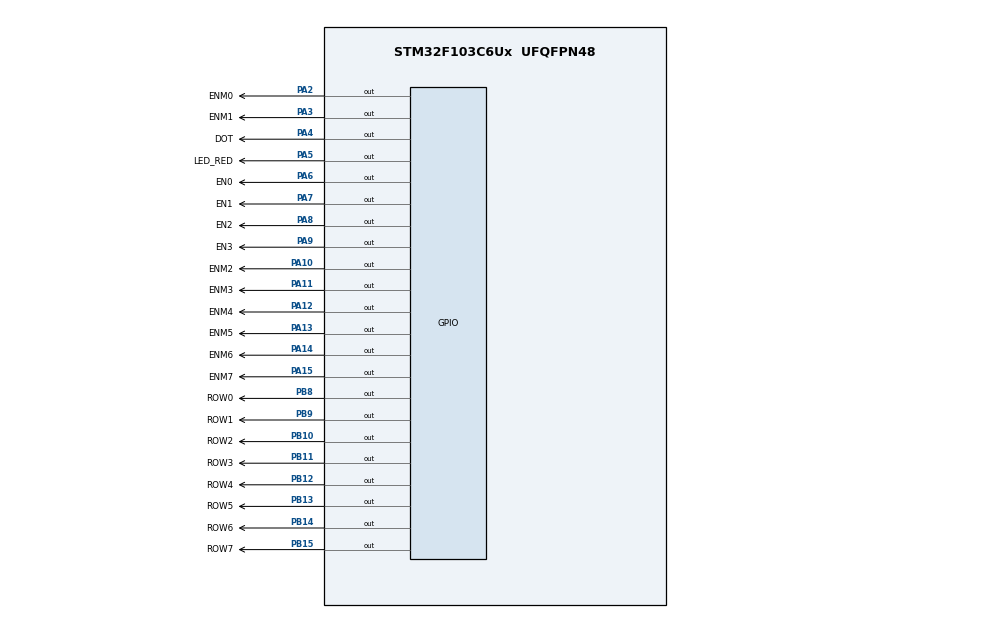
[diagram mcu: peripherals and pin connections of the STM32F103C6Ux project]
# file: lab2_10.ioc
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Mcu.Family=STM32F1
Mcu.Name=STM32F103C6Ux
Mcu.Package=UFQFPN48
NVIC.PriorityGroup=NVIC_PRIORITYGROUP_4
NVIC.TIM2_IRQn=true\:0\:0\:false\:false\:true\:true\:true
PA10.GPIO_Label=ENM2
PA10.Signal=GPIO_Output
PA11.GPIO_Label=ENM3
PA11.Signal=GPIO_Output
PA12.GPIO_Label=ENM4
PA12.Signal=GPIO_Output
PA13.GPIO_Label=ENM5
PA13.Signal=GPIO_Output
PA14.GPIO_Label=ENM6
PA14.Signal=GPIO_Output
PA15.GPIO_Label=ENM7
PA15.Signal=GPIO_Output
PA2.GPIO_Label=ENM0
PA2.Signal=GPIO_Output
PA3.GPIO_Label=ENM1
PA3.Signal=GPIO_Output
PA4.GPIO_Label=DOT
PA4.Signal=GPIO_Output
PA5.GPIO_Label=LED_RED
PA5.Signal=GPIO_Output
PA6.GPIO_Label=EN0
PA6.Signal=GPIO_Output
PA7.GPIO_Label=EN1
PA7.Signal=GPIO_Output
PA8.GPIO_Label=EN2
PA8.Signal=GPIO_Output
PA9.GPIO_Label=EN3
PA9.Signal=GPIO_Output
PB10.GPIO_Label=ROW2
PB10.Signal=GPIO_Output
PB11.GPIO_Label=ROW3
PB11.Signal=GPIO_Output
PB12.GPIO_Label=ROW4
PB12.Signal=GPIO_Output
PB13.GPIO_Label=ROW5
PB13.Signal=GPIO_Output
PB14.GPIO_Label=ROW6
PB14.Signal=GPIO_Output
PB15.GPIO_Label=ROW7
PB15.Signal=GPIO_Output
PB8.GPIO_Label=ROW0
PB8.Signal=GPIO_Output
PB9.GPIO_Label=ROW1
PB9.Signal=GPIO_Output
ProjectManager.HeapSize=0x200
ProjectManager.StackSize=0x400
ProjectManager.TargetToolchain=STM32CubeIDE
RCC.APB1Freq_Value=8000000
RCC.APB2Freq_Value=8000000
TIM2.Period=9
TIM2.Prescaler=7999
VP_SYS_VS_ND.Mode=No_Debug
VP_TIM2_VS_ClockSourceINT.Mode=Internal
board=custom

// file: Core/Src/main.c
/* USER CODE BEGIN Header */
/**
  ******************************************************************************
  * @file           : main.c
  * @brief          : Main program body
  ******************************************************************************
  * @attention
  *
  * <h2><center>&copy; Copyright (c) 2022 STMicroelectronics.
  * All rights reserved.</center></h2>
  *
  * This software component is licensed by ST under BSD 3-Clause license,
  * the "License"; You may not use this file except in compliance with the
  * License. You may obtain a copy of the License at:
  *                        opensource.org/licenses/BSD-3-Clause
  *
  ******************************************************************************
  */
/* USER CODE END Header */
#include "main.h"

/* USER CODE BEGIN Includes */
#include "ledmatrix.h"
#include "software.h"
/* USER CODE END Includes */

TIM_HandleTypeDef htim2;

void SystemClock_Config(void);
static void MX_GPIO_Init(void);
static void MX_TIM2_Init(void);

int main(void)
{

  /* MCU Configuration--------------------------------------------------------*/

  /* Reset of all peripherals, Initializes the Flash interface and the Systick. */
  HAL_Init();

  /* Configure the system clock */
  SystemClock_Config();

  /* Initialize all configured peripherals */
  MX_GPIO_Init();
  MX_TIM2_Init();
  /* USER CODE BEGIN 2 */
  HAL_TIM_Base_Start_IT (& htim2 ) ;
  /* USER CODE END 2 */

  /* Infinite loop */
  /* USER CODE BEGIN WHILE */
  int index =0;
  int n = 0;
  HAL_GPIO_WritePin(ENM0_GPIO_Port, ENM0_Pin, SET);
  HAL_GPIO_WritePin(ENM1_GPIO_Port, ENM1_Pin, SET);
  HAL_GPIO_WritePin(ENM2_GPIO_Port, ENM2_Pin, SET);
  HAL_GPIO_WritePin(ENM3_GPIO_Port, ENM3_Pin, SET);
  HAL_GPIO_WritePin(ENM4_GPIO_Port, ENM4_Pin, SET);
  HAL_GPIO_WritePin(ENM5_GPIO_Port, ENM5_Pin, SET);
  HAL_GPIO_WritePin(ENM6_GPIO_Port, ENM6_Pin, SET);
  HAL_GPIO_WritePin(ENM7_GPIO_Port, ENM7_Pin, SET);
  setTimer1(100);
  setTimer2(100);
  while (1)
  {
	  if(timer1_flag == 1){
	  		  n++;
	  	  }
	  if(timer2_flag == 1){
		  if(index > 7){
			  index = 0;
		  }
		  if(n>7){
		  		  n=0;
		  }
		  updateLEDMatrix(index++,n);
	  }
  }
    /* USER CODE END WHILE */

}

void SystemClock_Config(void)
{
  RCC_OscInitTypeDef RCC_OscInitStruct = {0};
  RCC_ClkInitTypeDef RCC_ClkInitStruct = {0};

  /** Initializes the RCC Oscillators according to the specified parameters
  * in the RCC_OscInitTypeDef structure.
  */
  RCC_OscInitStruct.OscillatorType = RCC_OSCILLATORTYPE_HSI;
  RCC_OscInitStruct.HSIState = RCC_HSI_ON;
  RCC_OscInitStruct.HSICalibrationValue = RCC_HSICALIBRATION_DEFAULT;
  RCC_OscInitStruct.PLL.PLLState = RCC_PLL_NONE;
  if (HAL_RCC_OscConfig(&RCC_OscInitStruct) != HAL_OK)
  {
    Error_Handler();
  }
  /** Initializes the CPU, AHB and APB buses clocks
  */
  RCC_ClkInitStruct.ClockType = RCC_CLOCKTYPE_HCLK|RCC_CLOCKTYPE_SYSCLK
                              |RCC_CLOCKTYPE_PCLK1|RCC_CLOCKTYPE_PCLK2;
  RCC_ClkInitStruct.SYSCLKSource = RCC_SYSCLKSOURCE_HSI;
  RCC_ClkInitStruct.AHBCLKDivider = RCC_SYSCLK_DIV1;
  RCC_ClkInitStruct.APB1CLKDivider = RCC_HCLK_DIV1;
  RCC_ClkInitStruct.APB2CLKDivider = RCC_HCLK_DIV1;

  if (HAL_RCC_ClockConfig(&RCC_ClkInitStruct, FLASH_LATENCY_0) != HAL_OK)
  {
    Error_Handler();
  }
}

static void MX_TIM2_Init(void)
{

  TIM_ClockConfigTypeDef sClockSourceConfig = {0};
  TIM_MasterConfigTypeDef sMasterConfig = {0};

  htim2.Instance = TIM2;
  htim2.Init.Prescaler = 7999;
  htim2.Init.CounterMode = TIM_COUNTERMODE_UP;
  htim2.Init.Period = 9;
  htim2.Init.ClockDivision = TIM_CLOCKDIVISION_DIV1;
  htim2.Init.AutoReloadPreload = TIM_AUTORELOAD_PRELOAD_DISABLE;
  if (HAL_TIM_Base_Init(&htim2) != HAL_OK)
  {
    Error_Handler();
  }
  sClockSourceConfig.ClockSource = TIM_CLOCKSOURCE_INTERNAL;
  if (HAL_TIM_ConfigClockSource(&htim2, &sClockSourceConfig) != HAL_OK)
  {
    Error_Handler();
  }
  sMasterConfig.MasterOutputTrigger = TIM_TRGO_RESET;
  sMasterConfig.MasterSlaveMode = TIM_MASTERSLAVEMODE_DISABLE;
  if (HAL_TIMEx_MasterConfigSynchronization(&htim2, &sMasterConfig) != HAL_OK)
  {
    Error_Handler();
  }

}

static void MX_GPIO_Init(void)
{
  GPIO_InitTypeDef GPIO_InitStruct = {0};

  /* GPIO Ports Clock Enable */
  __HAL_RCC_GPIOA_CLK_ENABLE();
  __HAL_RCC_GPIOB_CLK_ENABLE();

  /*Configure GPIO pin Output Level */
  HAL_GPIO_WritePin(GPIOA, ENM0_Pin|ENM1_Pin|DOT_Pin|LED_RED_Pin
                          |EN0_Pin|EN1_Pin|EN2_Pin|EN3_Pin
                          |ENM2_Pin|ENM3_Pin|ENM4_Pin|ENM5_Pin
                          |ENM6_Pin|ENM7_Pin, GPIO_PIN_RESET);

  /*Configure GPIO pin Output Level */
  HAL_GPIO_WritePin(GPIOB, ROW2_Pin|ROW3_Pin|ROW4_Pin|ROW5_Pin
                          |ROW6_Pin|ROW7_Pin|ROW0_Pin|ROW1_Pin, GPIO_PIN_RESET);

  /*Configure GPIO pins : ENM0_Pin ENM1_Pin DOT_Pin LED_RED_Pin
                           EN0_Pin EN1_Pin EN2_Pin EN3_Pin
                           ENM2_Pin ENM3_Pin ENM4_Pin ENM5_Pin
                           ENM6_Pin ENM7_Pin */
  GPIO_InitStruct.Pin = ENM0_Pin|ENM1_Pin|DOT_Pin|LED_RED_Pin
                          |EN0_Pin|EN1_Pin|EN2_Pin|EN3_Pin
                          |ENM2_Pin|ENM3_Pin|ENM4_Pin|ENM5_Pin
                          |ENM6_Pin|ENM7_Pin;
  GPIO_InitStruct.Mode = GPIO_MODE_OUTPUT_PP;
  GPIO_InitStruct.Pull = GPIO_NOPULL;
  GPIO_InitStruct.Speed = GPIO_SPEED_FREQ_LOW;
  HAL_GPIO_Init(GPIOA, &GPIO_InitStruct);

  /*Configure GPIO pins : ROW2_Pin ROW3_Pin ROW4_Pin ROW5_Pin
                           ROW6_Pin ROW7_Pin ROW0_Pin ROW1_Pin */
  GPIO_InitStruct.Pin = ROW2_Pin|ROW3_Pin|ROW4_Pin|ROW5_Pin
                          |ROW6_Pin|ROW7_Pin|ROW0_Pin|ROW1_Pin;
  GPIO_InitStruct.Mode = GPIO_MODE_OUTPUT_PP;
  GPIO_InitStruct.Pull = GPIO_NOPULL;
  GPIO_InitStruct.Speed = GPIO_SPEED_FREQ_LOW;
  HAL_GPIO_Init(GPIOB, &GPIO_InitStruct);

}

/* USER CODE BEGIN 4 */
void HAL_TIM_PeriodElapsedCallback ( TIM_HandleTypeDef * htim )
{
 timerRun();
}

/* USER CODE END 4 */

void Error_Handler(void)
{
  __disable_irq();
  while (1)
  {
  }
}

/************************ (C) COPYRIGHT STMicroelectronics *****END OF FILE****/
